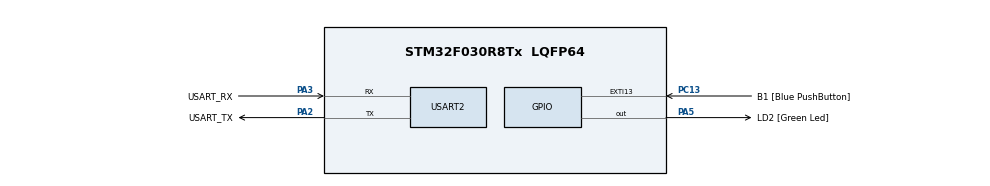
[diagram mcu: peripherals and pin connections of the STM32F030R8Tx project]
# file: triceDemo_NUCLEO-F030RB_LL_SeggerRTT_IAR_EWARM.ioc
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Mcu.Family=STM32F0
Mcu.Name=STM32F030R8Tx
Mcu.Package=LQFP64
PA13.GPIO_Label=TMS
PA13.Mode=Serial_Wire
PA13.Signal=SYS_SWDIO
PA14.GPIO_Label=TCK
PA14.Mode=Serial_Wire
PA14.Signal=SYS_SWCLK
PA2.GPIO_Label=USART_TX
PA2.GPIO_Mode=GPIO_MODE_AF_PP
PA2.GPIO_PuPd=GPIO_NOPULL
PA2.GPIO_Speed=GPIO_SPEED_FREQ_LOW
PA2.Mode=Asynchronous
PA2.Signal=USART2_TX
PA3.GPIO_Label=USART_RX
PA3.GPIO_Mode=GPIO_MODE_AF_PP
PA3.GPIO_PuPd=GPIO_NOPULL
PA3.GPIO_Speed=GPIO_SPEED_FREQ_LOW
PA3.Mode=Asynchronous
PA3.Signal=USART2_RX
PA5.GPIO_Label=LD2 [Green Led]
PA5.GPIO_Mode=GPIO_MODE_OUTPUT_PP
PA5.GPIO_PuPd=GPIO_NOPULL
PA5.GPIO_Speed=GPIO_SPEED_FREQ_LOW
PA5.Signal=GPIO_Output
PC13.GPIO_Label=B1 [Blue PushButton]
PC13.GPIO_ModeDefaultEXTI=GPIO_MODE_IT_FALLING
PC13.Signal=GPXTI13
PC14-OSC32_IN.Mode=LSE-External-Oscillator
PC14-OSC32_IN.Signal=RCC_OSC32_IN
PC15-OSC32_OUT.Mode=LSE-External-Oscillator
PC15-OSC32_OUT.Signal=RCC_OSC32_OUT
PF0-OSC_IN.Mode=HSE-External-Clock-Source
PF0-OSC_IN.Signal=RCC_OSC_IN
PF1-OSC_OUT.Signal=RCC_OSC_OUT
ProjectManager.HeapSize=0x200
ProjectManager.StackSize=0x400
ProjectManager.TargetToolchain=EWARM V8.32
RCC.AHBFreq_Value=48000000
RCC.APB1Freq_Value=48000000
RCC.APB1TimFreq_Value=48000000
RCC.HCLKFreq_Value=48000000
RCC.PLLMUL=RCC_PLL_MUL12
RCC.SYSCLKFreq_VALUE=48000000
RCC.SYSCLKSource=RCC_SYSCLKSOURCE_PLLCLK
USART2.VirtualMode-Asynchronous=VM_ASYNC
board=NUCLEO-F030R8

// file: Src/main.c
/* USER CODE BEGIN Header */
/**
  ******************************************************************************
  * @file           : main.c
  * @brief          : Main program body
  ******************************************************************************
  * @attention
  *
  * <h2><center>&copy; Copyright (c) 2020 STMicroelectronics.
  * All rights reserved.</center></h2>
  *
  * This software component is licensed by ST under BSD 3-Clause license,
  * the "License"; You may not use this file except in compliance with the
  * License. You may obtain a copy of the License at:
  *                        opensource.org/licenses/BSD-3-Clause
  *
  ******************************************************************************
  */
/* USER CODE END Header */

#include "main.h"

/* USER CODE BEGIN Includes */
#include "SEGGER_RTT.h"
#include "SEGGER_RTT_Conf.h"
#include "string.h"
#include "trice.h"
/* USER CODE END Includes */

void SystemClock_Config(void);
static void MX_GPIO_Init(void);
static void MX_USART2_UART_Init(void);

int main(void)
{

  /* MCU Configuration--------------------------------------------------------*/

  /* Reset of all peripherals, Initializes the Flash interface and the Systick. */

  LL_APB1_GRP2_EnableClock(LL_APB1_GRP2_PERIPH_SYSCFG);
  LL_APB1_GRP1_EnableClock(LL_APB1_GRP1_PERIPH_PWR);

  /* System interrupt init*/

  /* Configure the system clock */
  SystemClock_Config();

  /* USER CODE BEGIN SysInit */
    SysTick->CTRL |= SysTick_CTRL_TICKINT_Msk; // enable SysTick interrupt
  /* USER CODE END SysInit */

  /* Initialize all configured peripherals */
  MX_GPIO_Init();
  MX_USART2_UART_Init();

  /* Infinite loop */
  /* USER CODE BEGIN WHILE */
    SEGGER_RTT_GetAvailWriteSpace(0);
    char* s = "Hi5!\n";
    SEGGER_RTT_Write(0, s, strlen(s));
    TRICE16_1( Id( 2625), "TIM:timing      message, SysTick is %6d\n", SYSTICKVAL16 );
    TRICE0( Id( 8308), "att:triceDemo_NUCLEO-F030RB_LL_SeggerRTT_IAR_EWARM\n" );
    TRICE16_1( Id( 2625), "TIM:timing      message, SysTick is %6d\n", SYSTICKVAL16 );
    TRICE16_1( Id( 2625), "TIM:timing      message, SysTick is %6d\n", SYSTICKVAL16 );
    TRICE16_1( Id( 2625), "TIM:timing      message, SysTick is %6d\n", SYSTICKVAL16 );
    while (1)
    {
      //////////////////////////////////////////////////
      // demo trices
      //
      static uint32_t ms_1 = 0;
      extern uint32_t ms;
      if( ms >= ms_1 + 3000 ){ // every 3 sec
          void triceCheckSet( void );
          triceCheckSet();
          TRICE32_1( Id(29200), "time:ms = %d\n", ms );
          LL_GPIO_TogglePin(LD2_GPIO_Port, LD2_Pin);
          ms_1 = ms;
      }
      //
      //////////////////////////////////////////////////

      //////////////////////////////////////////////////
      // needed background activity
      //
        #ifdef LL_INTERFACE_NO_INTERRUPTS
        triceServe();
        #endif
      //
      //////////////////////////////////////////////////
    /* USER CODE END WHILE */

  }
}

void SystemClock_Config(void)
{
  LL_FLASH_SetLatency(LL_FLASH_LATENCY_1);

  if(LL_FLASH_GetLatency() != LL_FLASH_LATENCY_1)
  {
  Error_Handler();
  }
  LL_RCC_HSI_Enable();

   /* Wait till HSI is ready */
  while(LL_RCC_HSI_IsReady() != 1)
  {

  }
  LL_RCC_HSI_SetCalibTrimming(16);
  LL_RCC_PLL_ConfigDomain_SYS(LL_RCC_PLLSOURCE_HSI_DIV_2, LL_RCC_PLL_MUL_12);
  LL_RCC_PLL_Enable();

   /* Wait till PLL is ready */
  while(LL_RCC_PLL_IsReady() != 1)
  {

  }
  LL_RCC_SetAHBPrescaler(LL_RCC_SYSCLK_DIV_1);
  LL_RCC_SetAPB1Prescaler(LL_RCC_APB1_DIV_1);
  LL_RCC_SetSysClkSource(LL_RCC_SYS_CLKSOURCE_PLL);

   /* Wait till System clock is ready */
  while(LL_RCC_GetSysClkSource() != LL_RCC_SYS_CLKSOURCE_STATUS_PLL)
  {

  }
  LL_Init1msTick(48000000);
  LL_SetSystemCoreClock(48000000);
}

static void MX_USART2_UART_Init(void)
{

  LL_USART_InitTypeDef USART_InitStruct = {0};

  LL_GPIO_InitTypeDef GPIO_InitStruct = {0};

  /* Peripheral clock enable */
  LL_APB1_GRP1_EnableClock(LL_APB1_GRP1_PERIPH_USART2);

  LL_AHB1_GRP1_EnableClock(LL_AHB1_GRP1_PERIPH_GPIOA);
  /**USART2 GPIO Configuration
  PA2   ------> USART2_TX
  PA3   ------> USART2_RX
  */
  GPIO_InitStruct.Pin = USART_TX_Pin;
  GPIO_InitStruct.Mode = LL_GPIO_MODE_ALTERNATE;
  GPIO_InitStruct.Speed = LL_GPIO_SPEED_FREQ_LOW;
  GPIO_InitStruct.OutputType = LL_GPIO_OUTPUT_PUSHPULL;
  GPIO_InitStruct.Pull = LL_GPIO_PULL_NO;
  GPIO_InitStruct.Alternate = LL_GPIO_AF_1;
  LL_GPIO_Init(USART_TX_GPIO_Port, &GPIO_InitStruct);

  GPIO_InitStruct.Pin = USART_RX_Pin;
  GPIO_InitStruct.Mode = LL_GPIO_MODE_ALTERNATE;
  GPIO_InitStruct.Speed = LL_GPIO_SPEED_FREQ_LOW;
  GPIO_InitStruct.OutputType = LL_GPIO_OUTPUT_PUSHPULL;
  GPIO_InitStruct.Pull = LL_GPIO_PULL_NO;
  GPIO_InitStruct.Alternate = LL_GPIO_AF_1;
  LL_GPIO_Init(USART_RX_GPIO_Port, &GPIO_InitStruct);

  USART_InitStruct.BaudRate = 38400;
  USART_InitStruct.DataWidth = LL_USART_DATAWIDTH_8B;
  USART_InitStruct.StopBits = LL_USART_STOPBITS_1;
  USART_InitStruct.Parity = LL_USART_PARITY_NONE;
  USART_InitStruct.TransferDirection = LL_USART_DIRECTION_TX_RX;
  USART_InitStruct.HardwareFlowControl = LL_USART_HWCONTROL_NONE;
  USART_InitStruct.OverSampling = LL_USART_OVERSAMPLING_16;
  LL_USART_Init(USART2, &USART_InitStruct);
  LL_USART_DisableIT_CTS(USART2);
  LL_USART_ConfigAsyncMode(USART2);
  LL_USART_Enable(USART2);

}

static void MX_GPIO_Init(void)
{
  LL_EXTI_InitTypeDef EXTI_InitStruct = {0};
  LL_GPIO_InitTypeDef GPIO_InitStruct = {0};

  /* GPIO Ports Clock Enable */
  LL_AHB1_GRP1_EnableClock(LL_AHB1_GRP1_PERIPH_GPIOC);
  LL_AHB1_GRP1_EnableClock(LL_AHB1_GRP1_PERIPH_GPIOF);
  LL_AHB1_GRP1_EnableClock(LL_AHB1_GRP1_PERIPH_GPIOA);

  /**/
  LL_GPIO_ResetOutputPin(LD2_GPIO_Port, LD2_Pin);

  /**/
  LL_SYSCFG_SetEXTISource(LL_SYSCFG_EXTI_PORTC, LL_SYSCFG_EXTI_LINE13);

  /**/
  LL_GPIO_SetPinPull(B1_GPIO_Port, B1_Pin, LL_GPIO_PULL_NO);

  /**/
  LL_GPIO_SetPinMode(B1_GPIO_Port, B1_Pin, LL_GPIO_MODE_INPUT);

  /**/
  EXTI_InitStruct.Line_0_31 = LL_EXTI_LINE_13;
  EXTI_InitStruct.LineCommand = ENABLE;
  EXTI_InitStruct.Mode = LL_EXTI_MODE_IT;
  EXTI_InitStruct.Trigger = LL_EXTI_TRIGGER_FALLING;
  LL_EXTI_Init(&EXTI_InitStruct);

  /**/
  GPIO_InitStruct.Pin = LD2_Pin;
  GPIO_InitStruct.Mode = LL_GPIO_MODE_OUTPUT;
  GPIO_InitStruct.Speed = LL_GPIO_SPEED_FREQ_LOW;
  GPIO_InitStruct.OutputType = LL_GPIO_OUTPUT_PUSHPULL;
  GPIO_InitStruct.Pull = LL_GPIO_PULL_NO;
  LL_GPIO_Init(LD2_GPIO_Port, &GPIO_InitStruct);

}

void Error_Handler(void)
{
}

/************************ (C) COPYRIGHT STMicroelectronics *****END OF FILE****/
